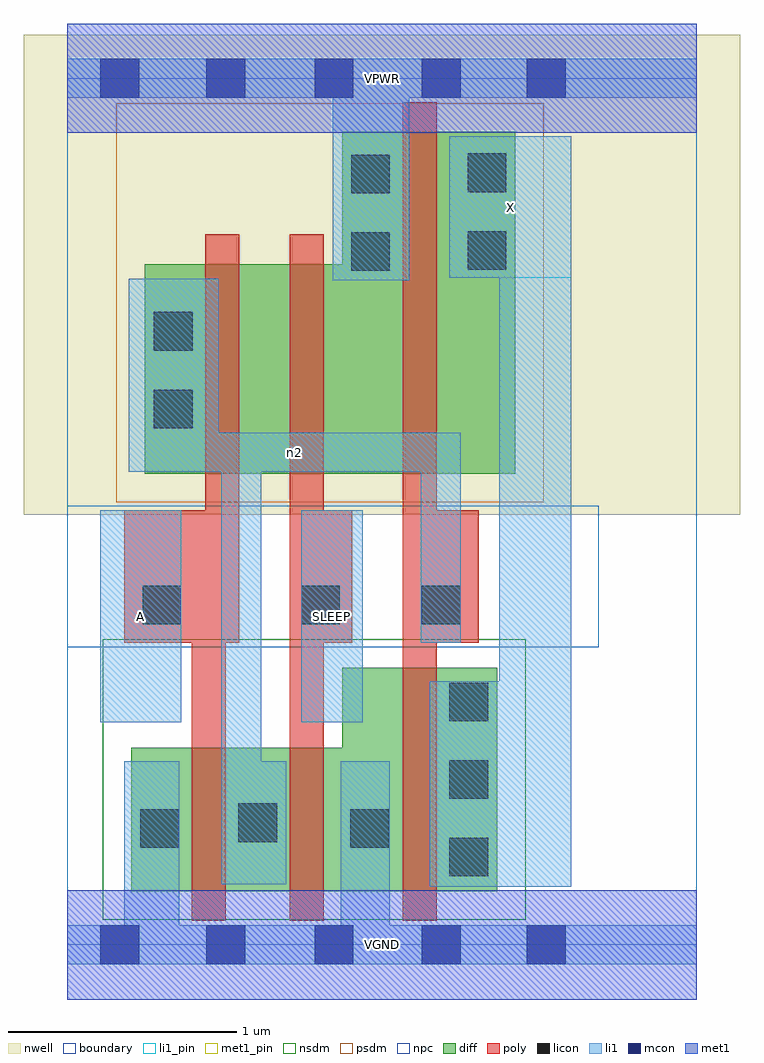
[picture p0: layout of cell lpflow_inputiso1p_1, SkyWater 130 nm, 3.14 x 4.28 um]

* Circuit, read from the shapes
.subckt lpflow_inputiso1p_1 A SLEEP VGND VPWR X n2
XM1 n2 A VGND VSUBS sky130_fd_pr__nfet_01v8 w=0.63 l=0.15
XM2 VGND SLEEP n2 VSUBS sky130_fd_pr__nfet_01v8 w=0.63 l=0.15
XM3 X n2 VGND VSUBS sky130_fd_pr__nfet_01v8 w=0.98 l=0.15
XM4 n1 A n2 n3 sky130_fd_pr__pfet_01v8 w=0.92 l=0.15
XM5 VPWR SLEEP n1 n3 sky130_fd_pr__pfet_01v8 w=0.92 l=0.15
XM6 X n2 VPWR n3 sky130_fd_pr__pfet_01v8 w=1.5 l=0.15
.ends

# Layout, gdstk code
import gdstk
lib = gdstk.Library(unit=1e-6, precision=1e-09)
def R(c, l, rs):  # rectangles x0, y0, x1, y1
    for r in rs: c.add(gdstk.rectangle(r[:2], r[2:], *l))
def A(c, l, x, y, w, h, nx, ny, dx, dy):  # array of equal rectangles
    R(c, l, [(x+i*dx, y+j*dy, x+i*dx+w, y+j*dy+h) for i in range(nx) for j in range(ny)])
nwell = (64, 20)
diff = (65, 20)
poly = (66, 20)
licon = (66, 44)
li1_pin = (67, 16)
li1 = (67, 20)
mcon = (67, 44)
met1_pin = (68, 16)
met1 = (68, 20)
nsdm = (93, 44)
psdm = (94, 20)
npc = (95, 20)
boundary = (235, 4)

lpflow_inputiso1p_1 = lib.new_cell('lpflow_inputiso1p_1')
R(lpflow_inputiso1p_1, nwell, [(-0.19,1.885,2.95,3.99), (0,1.885,2.76,3.99)])
R(lpflow_inputiso1p_1, diff, [(0.28,0.235,1.885,0.865), (1.205,0.235,1.885,1.215), (0.34,2.065,1.965,2.985), (1.205,2.065,1.965,3.565)])
R(lpflow_inputiso1p_1, poly, [(0.545,0.105,0.695,1.905), (0.975,0.105,1.125,3.115), (1.47,0.105,1.62,3.695), (0.25,1.325,0.755,1.905), (0.605,1.325,0.755,3.115), (0.975,1.325,1.25,1.905), (1.47,1.325,1.805,1.905)])
A(lpflow_inputiso1p_1, licon, 1.675, 0.3, 0.17, 0.17, 1, 3, 0, 0.34)
R(lpflow_inputiso1p_1, licon, [(0.32,0.425,0.49,0.595), (1.24,0.425,1.41,0.595), (0.75,0.45,0.92,0.62), (0.33,1.405,0.5,1.575), (1.025,1.405,1.195,1.575), (1.555,1.405,1.725,1.575), (0.38,2.265,0.55,2.435), (0.38,2.605,0.55,2.775), (1.245,2.955,1.415,3.125), (1.755,2.96,1.925,3.13), (1.245,3.295,1.415,3.465), (1.755,3.3,1.925,3.47)])
R(lpflow_inputiso1p_1, li1_pin, [(0.145,0.975,0.5,1.905), (1.025,0.975,1.295,1.905), (1.675,2.925,2.21,3.545)])
R(lpflow_inputiso1p_1, li1, [(0,-0.085,2.76,0.085), (0.25,-0.085,0.49,0.805), (1.2,-0.085,1.415,0.805), (1.59,0.255,2.21,1.155), (1.895,0.255,2.21,3.545), (0.675,0.265,0.85,2.245), (0.675,0.265,0.96,0.805), (0.145,0.975,0.5,1.905), (1.025,0.975,1.295,1.905), (1.55,1.325,1.725,2.245), (0.27,2.075,1.725,2.245), (0.27,2.075,0.665,2.92), (1.165,2.915,1.5,3.885), (1.675,2.925,2.21,3.545), (0,3.715,2.76,3.885)])
R(lpflow_inputiso1p_1, mcon, [(0.145,-0.085,0.315,0.085), (0.61,-0.085,0.78,0.085), (1.085,-0.085,1.255,0.085), (1.555,-0.085,1.725,0.085), (2.015,-0.085,2.185,0.085), (0.145,3.715,0.315,3.885), (0.61,3.715,0.78,3.885), (1.085,3.715,1.255,3.885), (1.555,3.715,1.725,3.885), (2.015,3.715,2.185,3.885)])
R(lpflow_inputiso1p_1, met1_pin, [(0,-0.24,2.76,0.24), (0,3.56,2.76,4.04)])
R(lpflow_inputiso1p_1, met1, [(0,-0.24,2.76,0.24), (0,3.56,2.76,4.04)])
R(lpflow_inputiso1p_1, nsdm, [(0.155,0.11,2.01,1.34)])
R(lpflow_inputiso1p_1, psdm, [(0.215,1.94,2.09,3.69)])
R(lpflow_inputiso1p_1, npc, [(0,1.305,2.33,1.925)])
R(lpflow_inputiso1p_1, boundary, [(0,0,2.76,3.8)])
lpflow_inputiso1p_1.add(gdstk.Label('A', (0.322,1.44), layer=67, texttype=5))
lpflow_inputiso1p_1.add(gdstk.Label('SLEEP', (1.16,1.44), layer=67, texttype=5))
lpflow_inputiso1p_1.add(gdstk.Label('X', (1.942,3.235), layer=67, texttype=5))
lpflow_inputiso1p_1.add(gdstk.Label('n2', (0.997,2.16), layer=67, texttype=5))
lpflow_inputiso1p_1.add(gdstk.Label('VPWR', (1.38,3.8), layer=68, texttype=5))
lpflow_inputiso1p_1.add(gdstk.Label('VGND', (1.38,0), layer=68, texttype=5))
lpflow_inputiso1p_1.add(gdstk.Label('A', (0.322,1.44), layer=67, texttype=16))
lpflow_inputiso1p_1.add(gdstk.Label('SLEEP', (1.16,1.44), layer=67, texttype=16))
lpflow_inputiso1p_1.add(gdstk.Label('X', (1.942,3.235), layer=67, texttype=16))
lpflow_inputiso1p_1.add(gdstk.Label('VPWR', (1.38,3.8), layer=68, texttype=16))
lpflow_inputiso1p_1.add(gdstk.Label('VGND', (1.38,0), layer=68, texttype=16))

lib.write_gds('lpflow_inputiso1p_1.gds')
